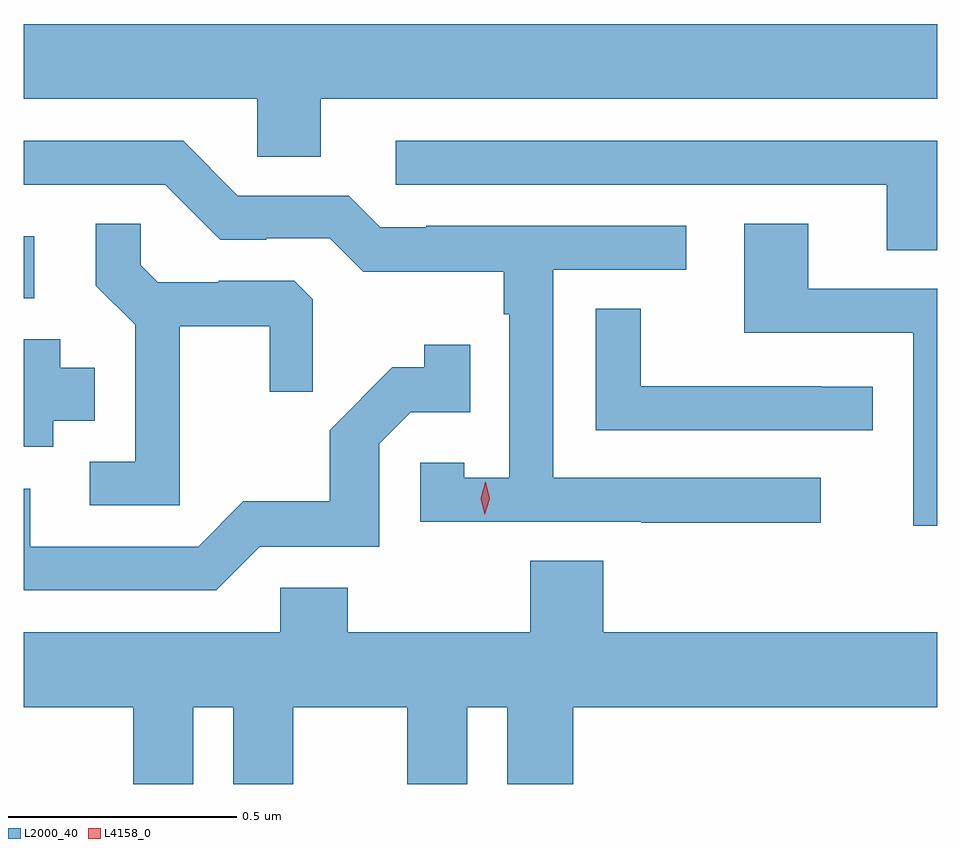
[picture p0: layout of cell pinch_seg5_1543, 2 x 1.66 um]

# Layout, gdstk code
import gdstk
lib = gdstk.Library(unit=1e-6, precision=1e-09)
def R(c, l, rs):  # rectangles x0, y0, x1, y1
    for r in rs: c.add(gdstk.rectangle(r[:2], r[2:], *l))
def P(c, l, *ps):  # polygons
    for p in ps: c.add(gdstk.Polygon(p, *l))
L2000_40 = (2000, 40)
L4158_0 = (4158, 0)

pinch_seg5_1543 = lib.new_cell('pinch_seg5_1543')
R(pinch_seg5_1543, L2000_40, [(194.525,892.287,194.548,892.423)])
P(pinch_seg5_1543, L2000_40, [(195.175,892.724),(196.525,892.724),(196.525,892.888),(194.525,892.888),(194.525,892.724),(195.036,892.724),(195.036,892.597),(195.175,892.597)],
  [(196.525,892.632),(195.339,892.632),(195.339,892.536),(196.415,892.536),(196.415,892.393),(196.525,892.393)],
  [(196.27,891.894),(195.684,891.894),(195.684,892.35),(195.976,892.35),(195.976,892.446),(195.406,892.446),(195.406,892.443),(195.306,892.443),(195.237,892.512),(194.994,892.512),(194.874,892.632),(194.525,892.632),(194.525,892.536),(194.835,892.536),(194.955,892.416),(195.056,892.416),(195.056,892.419),(195.195,892.419),(195.268,892.346),(195.576,892.346),(195.576,892.253),(195.588,892.253),(195.588,891.895),(195.489,891.895),(195.489,891.927),(195.393,891.927),(195.393,891.798),(195.877,891.798),(195.877,891.796),(196.27,891.796)],
  [(194.867,892.226),(195.064,892.226),(195.064,892.083),(195.158,892.083),(195.158,892.285),(195.117,892.326),(194.952,892.326),(194.952,892.323),(194.818,892.323),(194.781,892.36),(194.781,892.451),(194.683,892.451),(194.683,892.315),(194.769,892.229),(194.769,891.93),(194.67,891.93),(194.67,891.834),(194.867,891.834)],
  [(196.525,892.308),(196.243,892.308),(196.243,892.451),(196.103,892.451),(196.103,892.212),(196.473,892.212),(196.473,891.789),(196.525,891.789)],
  [(196.384,892.094),(196.271,892.094),(196.271,892.095),(195.876,892.095),(195.876,892.265),(195.777,892.265),(195.777,891.999),(196.384,891.999)],
  [(194.59,892.019),(194.68,892.019),(194.68,892.135),(194.605,892.135),(194.605,892.198),(194.525,892.198),(194.525,891.962),(194.59,891.962)],
  [(195.042,891.744),(195.303,891.744),(195.303,891.969),(195.372,892.038),(195.503,892.038),(195.503,892.186),(195.402,892.186),(195.402,892.136),(195.332,892.136),(195.195,891.998),(195.195,891.843),(195.006,891.843),(194.907,891.744),(194.539,891.744),(194.539,891.87),(194.525,891.87),(194.525,891.648),(194.946,891.648)],
  [(194.896,891.392),(194.984,891.392),(194.984,891.224),(195.115,891.224),(195.115,891.392),(195.365,891.392),(195.365,891.224),(195.496,891.224),(195.496,891.392),(195.584,891.392),(195.584,891.224),(195.728,891.224),(195.728,891.392),(196.525,891.392),(196.525,891.556),(195.794,891.556),(195.794,891.713),(195.634,891.713),(195.634,891.556),(195.234,891.556),(195.234,891.654),(195.087,891.654),(195.087,891.556),(194.525,891.556),(194.525,891.392),(194.765,891.392),(194.765,891.224),(194.896,891.224)])
P(pinch_seg5_1543, L4158_0, [(195.534,891.813),(195.534,891.814),(195.525,891.849),(195.535,891.885),(195.536,891.885),(195.536,891.885),(195.545,891.849),(195.534,891.814)])

lib.write_gds('pinch_seg5_1543.gds')
